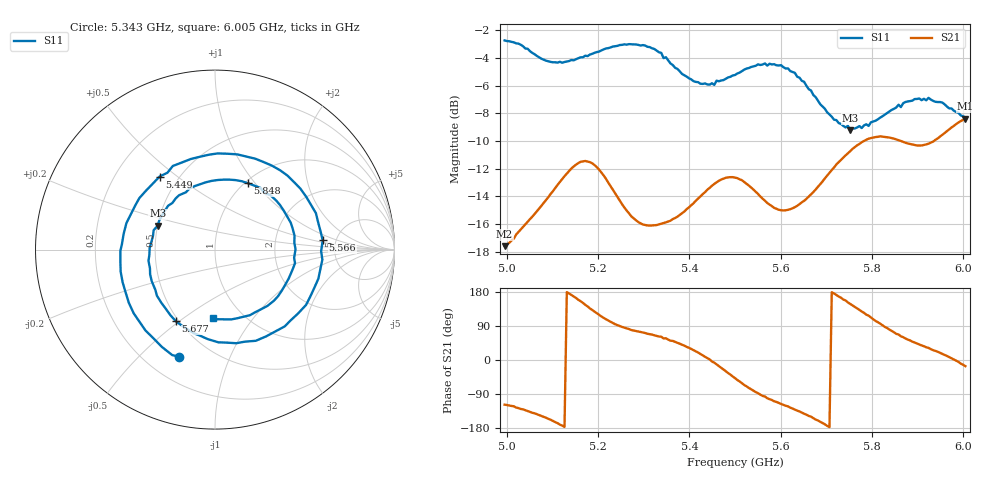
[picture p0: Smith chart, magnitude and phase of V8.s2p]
!File created by NanoVNA
# Hz S RI R 50
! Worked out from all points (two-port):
!   201 points, 4.995 GHz to 6.005 GHz, reference 50 ohm
!   highest |S21| = -8.40 dB at 6.005 GHz (marker M1); lowest = -17.6 dB at 4.995 GHz (marker M2)
!   |S21| within 3 dB of the highest: 5.731 GHz to end of sweep
!   lowest |S11| = -9.2 dB at 5.753 GHz (marker M3), VSWR 2.06, Z = 25 + j7.56 ohm
!   |S11| at or under -10 dB: nowhere
!   S12 and S22 are empty: the file has one direction only
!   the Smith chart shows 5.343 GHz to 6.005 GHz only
!   S11 on the Smith chart (normalised r, x): 5.343 GHz: 0.34, -0.66; 5.449 GHz: 0.39, +0.43; 5.566 GHz: 3.92, +0.63; 5.677 GHz: 0.48, -0.49; 5.848 GHz: 1.03, +0.92; 6.005 GHz: 0.73, -0.65
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4.995e9  0.2024 -0.7004  -0.0615 -0.1165  0 0  0 0
5.03035e9  -0.287 -0.6423  -0.0955 -0.1171  0 0  0 0
5.0758e9  -0.6156 -0.1148  -0.1561 -0.0983  0 0  0 0
5.12125e9  -0.4436 0.4126  -0.2289 -0.0276  0 0  0 0
5.1667e9  0.0721 0.6298  -0.2326 0.1305  0 0  0 0
5.21215e9  0.5597 0.3807  -0.0852 0.2213  0 0  0 0
5.25255e9  0.6978 -0.0852  0.00916 0.1864  0 0  0 0
5.30305e9  0.3527 -0.6034  0.0505 0.1488  0 0  0 0
5.33335e9  -0.0503 -0.6588  0.0742 0.1393  0 0  0 0
5.34345e9  -0.2009 -0.5964  0.0873 0.1335  0 0  0 0
5.39395e9  -0.5256 -0.1229  0.1474 0.1018  0 0  0 0
5.4495e9  -0.3085 0.407  0.2172 -0.0157  0 0  0 0
5.5e9  0.1703 0.5197  0.1565 -0.1726  0 0  0 0
5.56565e9  0.6 0.0513  -0.0211 -0.1911  0 0  0 0
5.6313e9  0.2274 -0.5081  -0.1192 -0.1378  0 0  0 0
5.6717e9  -0.181 -0.4262  -0.1849 -0.0922  0 0  0 0
5.67675e9  -0.2174 -0.3997  -0.1944 -0.082  0 0  0 0
5.7525e9  -0.3191 0.1329  -0.2463 0.1536  0 0  0 0
5.83835e9  0.1137 0.3872  0.0545 0.3206  0 0  0 0
5.84845e9  0.1843 0.3694  0.0932 0.3084  0 0  0 0
5.9242e9  0.4459 -0.0759  0.262 0.1636  0 0  0 0
6.005e9  -0.0123 -0.3834  0.3649 -0.1067  0 0  0 0
